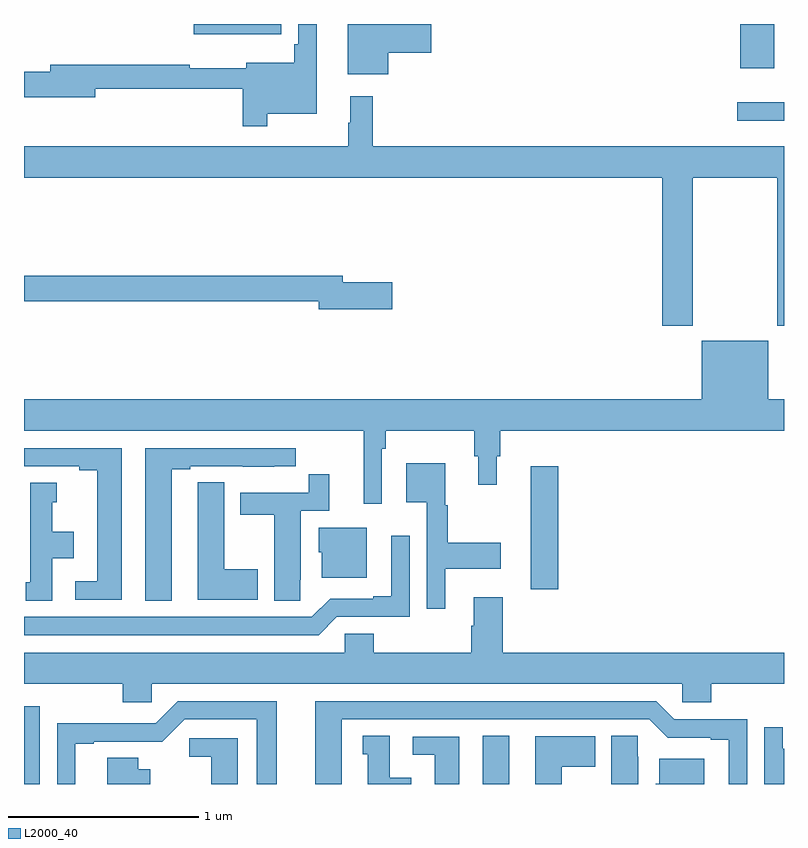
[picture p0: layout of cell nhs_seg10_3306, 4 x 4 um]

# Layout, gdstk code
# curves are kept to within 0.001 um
import gdstk
lib = gdstk.Library(unit=1e-6, precision=1e-09)
def R(c, l, rs):  # rectangles x0, y0, x1, y1
    for r in rs: c.add(gdstk.rectangle(r[:2], r[2:], *l))
def P(c, l, *ps):  # polygons
    for p in ps: c.add(gdstk.Polygon(p, *l))
L2000_40 = (2000, 40)

nhs_seg10_3306 = lib.new_cell('nhs_seg10_3306')
R(nhs_seg10_3306, L2000_40, [(291,1254.5,291.084,1254.909), (293.414,1254.5,293.554,1254.755), (293.666,1255.524,293.813,1256.173), (294.753,1257.992,295,1258.089), (294.77,1258.268,294.949,1258.5), (291.894,1258.445,292.354,1258.5)])
P(nhs_seg10_3306, L2000_40, [(292.918,1258.349),(293.143,1258.349),(293.143,1258.5),(292.703,1258.5),(292.703,1258.235),(292.918,1258.235)],
  [(292.279,1258.028),(292.54,1258.028),(292.54,1258.5),(292.443,1258.5),(292.443,1258.393),(292.423,1258.393),(292.423,1258.297),(292.169,1258.297),(292.169,1258.267),(291.873,1258.267),(291.873,1258.286),(291.137,1258.286),(291.137,1258.25),(291,1258.25),(291,1258.115),(291.376,1258.115),(291.376,1258.158),(292.15,1258.158),(292.15,1257.963),(292.279,1257.963)],
  [(294.519,1257.692),(294.964,1257.692),(294.964,1256.913),(295,1256.913),(295,1257.856),(292.835,1257.856),(292.835,1258.12),(292.718,1258.12),(292.718,1257.98),(292.707,1257.98),(292.707,1257.856),(291,1257.856),(291,1257.692),(294.359,1257.692),(294.359,1256.913),(294.519,1256.913)],
  [(292.939,1257.14),(292.678,1257.14),(292.678,1257.176),(291,1257.176),(291,1257.04),(292.55,1257.04),(292.55,1256.998),(292.939,1256.998)],
  [(291,1256.36),(292.787,1256.36),(292.787,1255.974),(292.884,1255.974),(292.884,1256.264),(292.904,1256.264),(292.904,1256.36),(293.371,1256.36),(293.371,1256.226),(293.39,1256.226),(293.39,1256.076),(293.488,1256.076),(293.488,1256.226),(293.507,1256.226),(293.507,1256.36),(295,1256.36),(295,1256.524),(294.916,1256.524),(294.916,1256.833),(294.566,1256.833),(294.566,1256.524),(291,1256.524)],
  [(291.514,1256.268),(291,1256.268),(291,1256.172),(291.29,1256.172),(291.29,1256.152),(291.386,1256.152),(291.386,1255.566),(291.27,1255.566),(291.27,1255.47),(291.514,1255.47)],
  [(291.778,1256.157),(291.874,1256.157),(291.874,1256.172),(292.15,1256.172),(292.15,1256.171),(292.316,1256.171),(292.316,1256.172),(292.429,1256.172),(292.429,1256.268),(291.638,1256.268),(291.638,1255.465),(291.778,1255.465)],
  [(293.218,1255.634),(293.509,1255.634),(293.509,1255.769),(293.23,1255.769),(293.23,1255.968),(293.218,1255.968),(293.218,1256.188),(293.012,1256.188),(293.012,1255.982),(293.121,1255.982),(293.121,1255.422),(293.218,1255.422)],
  [(292.455,1255.576),(292.456,1255.576),(292.456,1255.938),(292.607,1255.938),(292.607,1256.131),(292.498,1256.131),(292.498,1256.034),(292.139,1256.034),(292.139,1255.918),(292.316,1255.918),(292.316,1255.465),(292.455,1255.465)],
  [(292.231,1255.629),(292.054,1255.629),(292.054,1256.087),(291.915,1256.087),(291.915,1255.979),(291.914,1255.979),(291.914,1255.469),(292.231,1255.469)],
  [(291.148,1255.688),(291.262,1255.688),(291.262,1255.828),(291.148,1255.828),(291.148,1255.983),(291.172,1255.983),(291.172,1256.086),(291.032,1256.086),(291.032,1255.563),(291.008,1255.563),(291.008,1255.465),(291.148,1255.465)],
  [(292.804,1255.849),(292.55,1255.849),(292.55,1255.719),(292.568,1255.719),(292.568,1255.586),(292.804,1255.586)],
  [(292.647,1255.38),(293.031,1255.38),(293.031,1255.807),(292.934,1255.807),(292.934,1255.489),(292.838,1255.489),(292.838,1255.476),(292.611,1255.476),(292.515,1255.38),(291,1255.38),(291,1255.284),(292.551,1255.284)],
  [(291.672,1255.028),(294.465,1255.028),(294.465,1254.93),(294.617,1254.93),(294.617,1255.028),(295,1255.028),(295,1255.192),(293.519,1255.192),(293.519,1255.483),(293.366,1255.483),(293.366,1255.334),(293.354,1255.334),(293.354,1255.192),(292.841,1255.192),(292.841,1255.29),(292.689,1255.29),(292.689,1255.192),(291,1255.192),(291,1255.028),(291.521,1255.028),(291.521,1254.93),(291.672,1254.93)],
  [(292.672,1254.84),(294.291,1254.84),(294.387,1254.744),(294.614,1254.744),(294.614,1254.732),(294.71,1254.732),(294.71,1254.5),(294.807,1254.5),(294.807,1254.84),(294.423,1254.84),(294.327,1254.936),(292.532,1254.936),(292.532,1254.5),(292.672,1254.5)],
  [(291.271,1254.711),(291.367,1254.711),(291.367,1254.723),(291.728,1254.722),(291.846,1254.84),(292.226,1254.84),(292.226,1254.5),(292.33,1254.5),(292.33,1254.936),(291.81,1254.936),(291.693,1254.819),(291.437,1254.819),(291.437,1254.821),(291.174,1254.821),(291.174,1254.5),(291.271,1254.5)],
  [(295,1254.686),(294.994,1254.686),(294.994,1254.799),(294.897,1254.799),(294.897,1254.5),(295,1254.5)],
  [(294.232,1254.644),(294.231,1254.644),(294.231,1254.755),(294.092,1254.755),(294.092,1254.5),(294.232,1254.5)],
  [(293.038,1254.532),(292.924,1254.532),(292.924,1254.755),(292.784,1254.755),(292.784,1254.657),(292.808,1254.657),(292.808,1254.5),(293.038,1254.5)],
  [(293.83,1254.592),(294.007,1254.592),(294.007,1254.751),(293.69,1254.751),(293.69,1254.5),(293.83,1254.5)],
  [(293.29,1254.75),(293.046,1254.75),(293.046,1254.654),(293.162,1254.654),(293.162,1254.5),(293.29,1254.5)],
  [(292.126,1254.741),(291.87,1254.741),(291.87,1254.644),(291.986,1254.644),(291.986,1254.5),(292.126,1254.5)],
  [(291.664,1254.577),(291.601,1254.577),(291.601,1254.638),(291.437,1254.638),(291.437,1254.5),(291.664,1254.5)],
  [(294.58,1254.634),(294.344,1254.634),(294.344,1254.501),(294.326,1254.501),(294.326,1254.5),(294.58,1254.5)])

lib.write_gds('nhs_seg10_3306.gds')
